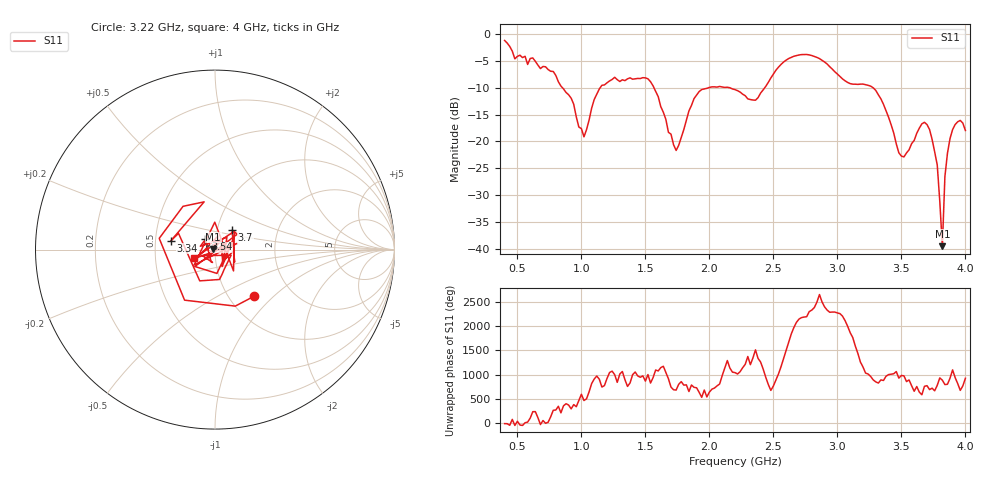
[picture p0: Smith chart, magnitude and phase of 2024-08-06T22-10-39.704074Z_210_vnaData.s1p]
!Created with skrf (http://scikit-rf.org).
# Hz S RI R 50.0
!freq ReS11 ImS11
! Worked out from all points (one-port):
!   181 points, 400 MHz to 4 GHz, reference 50 ohm
!   lowest |S11| = -39.6 dB at 3.82 GHz (marker M1), VSWR 1.02, Z = 49 + j0.32 ohm
!   |S11| at or under -10 dB: 853.4 MHz to 1.145 GHz (292.1 MHz wide, 29.2 % of centre); 1.568 GHz to 1.989 GHz (421.1 MHz wide, 23.7 % of centre); 3.281 GHz to end of sweep (the widest 3 of 4)
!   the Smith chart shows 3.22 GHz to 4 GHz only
!   S11 on the Smith chart (normalised r, x): 3.22 GHz: 1.31, -0.77; 3.34 GHz: 0.60, +0.06; 3.54 GHz: 0.89, +0.10; 3.7 GHz: 1.18, +0.26; 4 GHz: 0.79, -0.08
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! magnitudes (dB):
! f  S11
! 400 MHz  -1.1
! 480 MHz  -4.6
! 620 MHz  -4.4
! 860 MHz  -10.2
! 1.02 GHz  -19.1
! 1.14 GHz  -10.2
! 1.3 GHz  -8.8
! 1.52 GHz  -8.3
! 1.74 GHz  -21.7
! 1.76 GHz  -20.7
! 1.92 GHz  -10.7
! 2.2 GHz  -10.3
! 2.36 GHz  -12.3
! 2.66 GHz  -4.1
! 2.86 GHz  -4.5
! 3.1 GHz  -9.2
! 3.22 GHz  -9.4
! 3.34 GHz  -12.0
! 3.48 GHz  -22.1
! 3.54 GHz  -22.1
! 3.56 GHz  -21.5
! 3.7 GHz  -16.8
! 3.78 GHz  -24.4
! 3.82 GHz  -39.6
! 3.84 GHz  -26.5
! 3.88 GHz  -19.4
! 3.94 GHz  -16.3
! 4 GHz  -17.9
